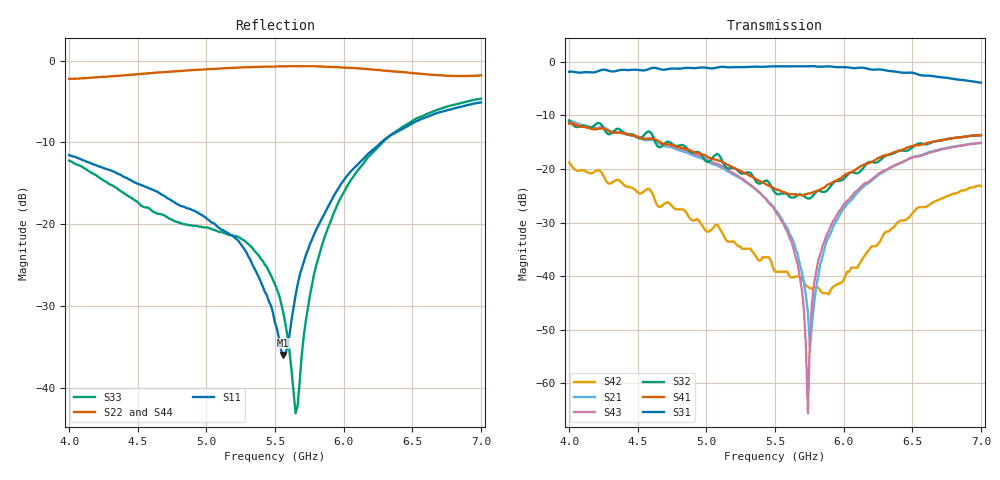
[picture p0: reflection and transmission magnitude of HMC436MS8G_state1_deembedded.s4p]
!Hittite Microwave Corporation
!12 Elizabeth Drive
!Chelmsford, MA 01824
!Tel: 978-250-3343
!Fax: 978-250-3373
!Device: HMC436MS8G, 4.9-5.9 GHz GaAs MMIC DPDT Diversity Switch in 8-lead Grounded Base surface Mount Plastic Package
!Misc:  Port 1 = ANT1, Port 2 = ANT2, Port 3 = Tx, Port 4 = Rx, Vctl=+3V, State 1 selected, Room
# MHZ S MA R 50
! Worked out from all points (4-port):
!   201 points, 4 GHz to 7 GHz, reference 50 ohm
!   strongest paths, dB at 4 GHz, 4.75 GHz, 5.5 GHz, 6.25 GHz, 7 GHz:
!     S31: -1.9, -1.3, -0.9, -1.5, -3.9
!     S41: -11.5, -15.5, -23.7, -18.0, -13.7
!     S32: -11.0, -15.3, -24.4, -18.7, -13.8
!     S43: -11.3, -15.8, -27.7, -21.0, -15.1
!     S21: -11.1, -16.0, -27.5, -21.2, -15.1
!     S42: -18.8, -26.9, -39.2, -34.0, -23.2
!   lowest |S11| = -35.9 dB at 5.56 GHz (marker M1), VSWR 1.03, Z = 49.5 - j1.51 ohm
!   |S11| at or under -10 dB: start of sweep to 6.273 GHz
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4000  0.265 73.9  0.304 -4.2  0.79 54.4  0.288 -3.9
      0.28 -4.0  0.773 -7.3  0.269 -1.7  0.12 -39.0
      0.804 53.4  0.283 -6.8  0.245 73.1  0.294 -2.1
      0.265 -3.9  0.115 -42.9  0.272 -2.1  0.783 -5.5
5560  0.016 -107.4  0.03 -12.2  0.901 50.3  0.058 42.6
      0.032 -17.3  0.922 -53.2  0.06 37.6  0.011 35.3
      0.901 50.4  0.059 39.3  0.029 -14.0  0.029 -11.7
      0.061 37.3  0.011 32.7  0.031 -17.0  0.915 -61.3
5695  0.054 174.6  0.01 -32.3  0.904 49.4  0.055 59.0
      0.011 -28.9  0.924 -56.5  0.055 60.5  0.008889 51.2
      0.901 49.3  0.057 58.4  0.016 126.9  0.006969 -24.3
      0.057 59.2  0.009568 50.3  0.007613 -24.5  0.919 -65.9
5740  0.07 170.2  0.004152 -60.1  0.902 49.0  0.057 65.6
      0.004521 -54.2  0.923 -57.8  0.056 68.6  0.008281 58.9
      0.903 49.2  0.053 67.0  0.031 139.7  0.0006601 -144.8
      0.059 67.2  0.007976 59.4  0.0005267 -139.1  0.917 -67.6
5785  0.087 165.7  0.005617 -154.5  0.906 48.6  0.057 76.0
      0.005578 -158.5  0.923 -59.2  0.059 76.2  0.007382 74.2
      0.906 48.3  0.058 78.8  0.05 143.6  0.007987 169.1
      0.061 74.0  0.007846 72.1  0.008566 169.0  0.918 -69.4
5965  0.168 149.9  0.037 170.1  0.888 46.1  0.081 95.1
      0.036 170.3  0.909 -65.6  0.078 97.3  0.008684 124.1
      0.886 46.5  0.077 96.5  0.138 138.8  0.04 160.3
      0.08 94.9  0.008541 124.8  0.04 160.4  0.907 -77.1
7000  0.555 123.9  0.179 139.8  0.637 40.4  0.212 101.9
      0.175 140.5  0.812 -141.0  0.201 104.6  0.07 161.9
      0.636 40.7  0.205 104.4  0.585 121.4  0.18 138.1
      0.207 102.6  0.069 162.1  0.175 138.7  0.826 -144.4
